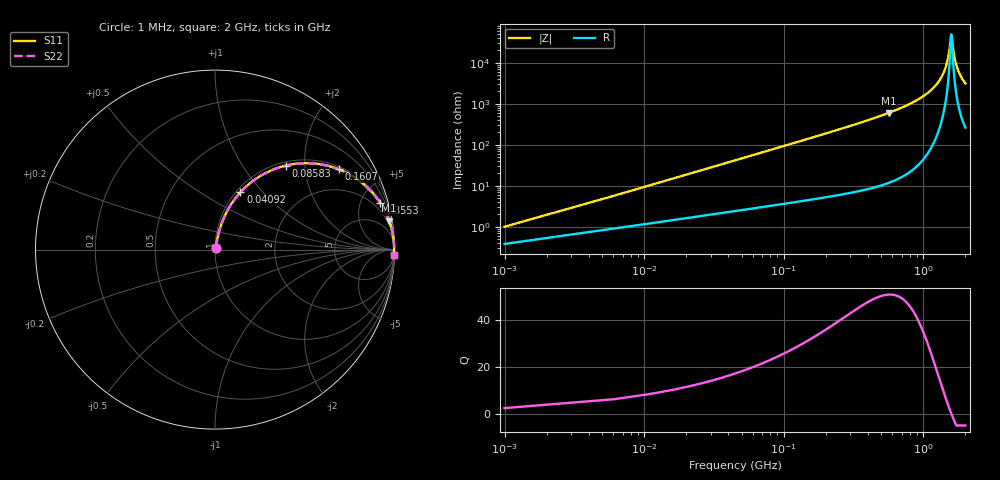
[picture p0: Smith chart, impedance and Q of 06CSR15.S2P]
! Coilcraft 0603CS-R15 Chip Inductor
! 21 May 2002
# MHZ S MA R 50
!Freq  MagS11  AngS11  MagS21  AngS21  MagS12  AngS12  MagS22  AngS22
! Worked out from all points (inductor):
!   402 points, 1 MHz to 2 GHz, reference 50 ohm
!   read as one part in series: L = 148 nH near 10.98 MHz
!   highest Q = 51 at 564.9 MHz (marker M1), where L = 169 nH
!   self-resonance near 1.583 GHz
!   S11 on the Smith chart (normalised r, x): 1 MHz: 1.01, +0.02; 40.92 MHz: 1.05, +0.76; 85.83 MHz: 1.07, +1.60; 160.7 MHz: 1.09, +3.02; 355.3 MHz: 1.15, +6.96; 2 GHz: 6, -63
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1  0.01001 67.1  0.9962 -0.5  0.9962 -0.5  0.01001 67.1
15.97  0.1455 76.1  0.9753 -8.3  0.9753 -8.3  0.1455 76.1
25.95  0.2313 72.3  0.9554 -13.3  0.9554 -13.3  0.2313 72.3
40.92  0.3494 66.1  0.916 -20.4  0.916 -20.4  0.3494 66.1
85.83  0.6129 49.8  0.765 -37.8  0.765 -37.8  0.6129 49.8
160.68  0.8222 33.0  0.5444 -55.3  0.5444 -55.3  0.8222 33.0
235.53  0.9045 23.8  0.4038 -64.7  0.4038 -64.7  0.9045 23.8
335.33  0.9503 16.9  0.2911 -71.8  0.2911 -71.8  0.9503 16.9
355.29  0.9556 15.9  0.2747 -72.8  0.2747 -72.8  0.9556 15.9
564.87  0.9834 9.4  0.1635 -79.5  0.1635 -79.5  0.9834 9.4
669.66  0.9889 7.5  0.1305 -81.4  0.1305 -81.4  0.9889 7.5
1003.99  0.9961 3.7  0.06398 -84.7  0.06398 -84.7  0.9961 3.7
1338.32  0.9979 1.3  0.0232 -84.2  0.0232 -84.2  0.9979 1.3
1418.16  0.998 0.9  0.01533 -82.1  0.01533 -82.1  0.998 0.9
1483.03  0.998 0.5  0.009346 -77.6  0.009346 -77.6  0.998 0.5
1527.94  0.998 0.3  0.005471 -68.7  0.005471 -68.7  0.998 0.3
1582.83  0.998 0.0  0.00205 -9.3  0.00205 -9.3  0.998 0.0
1597.8  0.998 -0.1  0.002246 24.7  0.002246 24.7  0.998 -0.1
1667.66  0.9979 -0.4  0.007054 72.1  0.007054 72.1  0.9979 -0.4
1722.55  0.9977 -0.6  0.01133 78.2  0.01133 78.2  0.9977 -0.6
1792.41  0.9976 -0.9  0.01667 81.1  0.01667 81.1  0.9976 -0.9
2000  0.9969 -1.8  0.03164 83.4  0.03164 83.4  0.9969 -1.8
